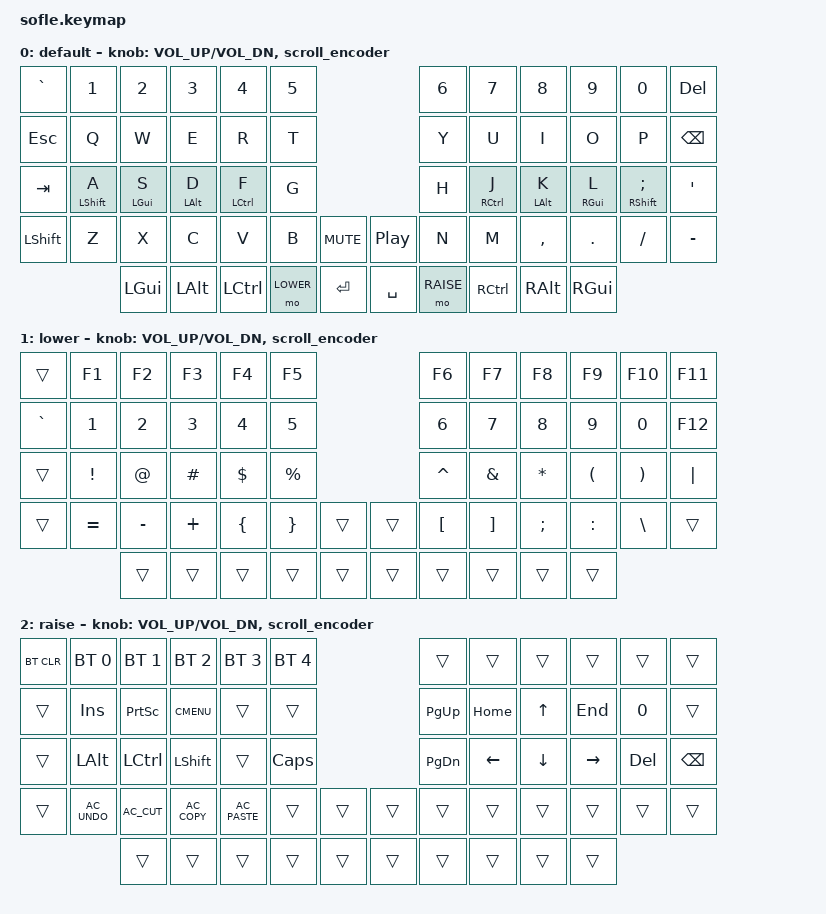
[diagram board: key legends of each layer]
/*
 * Copyright (c) 2020 The ZMK Contributors
 *
 * SPDX-License-Identifier: MIT
 */

#include <behaviors.dtsi>
#include <dt-bindings/zmk/bt.h>
#include <dt-bindings/zmk/ext_power.h>
#include <dt-bindings/zmk/keys.h>
#include <dt-bindings/zmk/pointing.h>

// Encoders
&sensors { triggers-per-rotation = <20>; };
&left_encoder { steps = <80>; };
&right_encoder { steps = <80>; };

#ifndef DONGLE_BUILD

// MechBoards Sofle MX: nice!view CS is wired to pro_micro pin 4 (P0.22),
// not pin 1 as the nice_view_adapter default assumes.
&nice_view_spi {
    cs-gpios = <&pro_micro 4 GPIO_ACTIVE_HIGH>;
};

#endif /* DONGLE_BUILD */

&msc {
    trigger-period-ms = <8>;
};

#define BASE 0
#define LOWER 1
#define RAISE 2

/ {
    // home row mods
    behaviors {
        hm_l: homerow_mods_left {
            compatible = "zmk,behavior-hold-tap";
            #binding-cells = <2>;
            tapping-term-ms = <200>;
            quick-tap-ms = <175>;
            require-prior-idle-ms = <150>; // The "Roll Killer"
            flavor = "balanced";
            hold-trigger-on-release;
            bindings = <&kp>, <&kp>;
            hold-trigger-key-positions = <6 7 8 9 10 11 18 19 20 21 22 23 30 31 32 33 34 35 43 44 45 46 47 48 49 55 56 57 58 59>; // Right hand keys
        };
        hm_r: homerow_mods_right {
            compatible = "zmk,behavior-hold-tap";
            #binding-cells = <2>;
            tapping-term-ms = <200>;
            quick-tap-ms = <175>;
            require-prior-idle-ms = <150>; // The "Roll Killer"
            flavor = "balanced";
            hold-trigger-on-release;
            bindings = <&kp>, <&kp>;
            hold-trigger-key-positions = <0 1 2 3 4 5 12 13 14 15 16 17 24 25 26 27 28 29 36 37 38 39 40 41 42 50 51 52 53 54>; // Left hand keys
        };
        // shift variants: shorter prior-idle, so capitals work mid-typing
        hs_l: homerow_shift_left {
            compatible = "zmk,behavior-hold-tap";
            #binding-cells = <2>;
            tapping-term-ms = <200>;
            quick-tap-ms = <175>;
            require-prior-idle-ms = <75>;
            flavor = "balanced";
            hold-trigger-on-release;
            bindings = <&kp>, <&kp>;
            hold-trigger-key-positions = <6 7 8 9 10 11 18 19 20 21 22 23 30 31 32 33 34 35 43 44 45 46 47 48 49 55 56 57 58 59>; // Right hand keys
        };
        hs_r: homerow_shift_right {
            compatible = "zmk,behavior-hold-tap";
            #binding-cells = <2>;
            tapping-term-ms = <200>;
            quick-tap-ms = <175>;
            require-prior-idle-ms = <75>;
            flavor = "balanced";
            hold-trigger-on-release;
            bindings = <&kp>, <&kp>;
            hold-trigger-key-positions = <0 1 2 3 4 5 12 13 14 15 16 17 24 25 26 27 28 29 36 37 38 39 40 41 42 50 51 52 53 54>; // Left hand keys
        };
    };

    scroll_encoder: scroll_encoder {
        compatible = "zmk,behavior-sensor-rotate";
        #sensor-binding-cells = <0>;
        tap-ms = <12>;
        bindings = <&msc MOVE_Y(125)>, <&msc MOVE_Y(-125)>;
    };

    keymap {
        compatible = "zmk,keymap";

        default_layer {
            display-name = "default";
// ------------------------------------------------------------------------------------------------------------
// |   `   |  1  |  2  |  3   |  4   |  5   |                   |  6   |  7    |  8    |  9   |   0   |       |
// |  ESC  |  Q  |  W  |  E   |  R   |  T   |                   |  Y   |  U    |  I    |  O   |   P   | BKSPC |
// |  TAB  |  A  |  S  |  D   |  F   |  G   |                   |  H   |  J    |  K    |  L   |   ;   |   '   |
// | SHIFT |  Z  |  X  |  C   |  V   |  B   |  MUTE  |  |  PP   |  N   |  M    |  ,    |  .   |   /   | SHIFT |
//               | GUI | ALT  | CTRL | LOWER|  ENTER |  | SPACE | RAISE| CTRL  | ALT   | GUI  |
            bindings = <
&kp GRAVE  &kp N1         &kp N2        &kp N3        &kp N4         &kp N5                           &kp N6     &kp N7         &kp N8        &kp N9       &kp N0            &kp DEL
&kp ESC    &kp Q          &kp W         &kp E         &kp R          &kp T                            &kp Y      &kp U          &kp I         &kp O        &kp P             &kp BSPC
&kp TAB    &hs_l LSHFT A  &hm_l LGUI S  &hm_l LALT D  &hm_l LCTRL F  &kp G                            &kp H      &hm_r RCTRL J  &hm_r LALT K  &hm_r RGUI L &hs_r RSHFT SEMI  &kp SQT
&kp LSHFT  &kp Z          &kp X         &kp C         &kp V          &kp B      &kp C_MUTE &kp C_PP   &kp N      &kp M          &kp COMMA     &kp DOT      &kp FSLH          &kp MINUS
                          &kp LGUI      &kp LALT      &kp LCTRL      &mo LOWER  &kp RET    &kp SPACE  &mo RAISE  &kp RCTRL      &kp RALT      &kp RGUI
            >;

            sensor-bindings = <&inc_dec_kp C_VOL_UP C_VOL_DN &scroll_encoder>;
        };

        lower_layer {
            display-name = "lower";
// TODO: Some binds are waiting for shifted keycode support.
// ------------------------------------------------------------------------------------------------------------
// |       |  F1 |  F2 |  F3  |  F4  |  F5  |                   |  F6  |  F7   |  F8   |  F9  |  F10  |  F11  |
// |   `   |  1  |  2  |  3   |  4   |  5   |                   |  6   |  7    |  8    |  9   |   0   |  F12  |
// |       |  !  |  @  |  #   |  $   |  %   |                   |  ^   |  &    |  *    |  (   |   )   |   |   |
// |       |  =  |  -  |  +   |  {   |  }   |        |  |       |  [   |  ]    |  ;    |  :   |   \   |       |
//               |     |      |      |      |        |  |       |      |       |       |      |
            bindings = <
&trans    &kp F1    &kp F2    &kp F3      &kp F4    &kp F5                    &kp F6    &kp F7   &kp F8    &kp F9    &kp F10   &kp F11
&kp GRAVE &kp N1    &kp N2    &kp N3      &kp N4    &kp N5                    &kp N6    &kp N7   &kp N8    &kp N9    &kp N0    &kp F12
&trans    &kp EXCL  &kp AT    &kp HASH    &kp DLLR  &kp PRCNT                 &kp CARET &kp AMPS &kp ASTRK &kp LPAR  &kp RPAR  &kp PIPE
&trans    &kp EQUAL &kp MINUS &kp PLUS &kp LBRC  &kp RBRC   &trans &trans  &kp LBKT  &kp RBKT &kp SEMI  &kp COLON &kp BSLH  &trans
                    &trans    &trans      &trans    &trans     &trans &trans  &trans    &trans   &trans    &trans
            >;

            sensor-bindings = <&inc_dec_kp C_VOL_UP C_VOL_DN &scroll_encoder>;
        };

        raise_layer {
            display-name = "raise";
// ------------------------------------------------------------------------------------------------------------
// | BTCLR | BT1  | BT2  |  BT3  |  BT4  |  BT5 |                |      |      |       |      |       |       |
// |       | INS  | PSCR | GUI   |       |      |                | PGUP | HOME |   ^   | END  |       |       |
// |       | ALT  | CTRL | SHIFT |       | CAPS |                | PGDN |   <- |   v   |  ->  |  DEL  | BKSPC |
// |       | UNDO | CUT  | COPY  | PASTE |      |      |  |      |      |      |       |      |       |       |
//                |      |       |       |      |      |  |      |      |      |       |      |
            bindings = <
&bt BT_CLR &bt BT_SEL 0   &bt BT_SEL 1 &bt BT_SEL 2   &bt BT_SEL 3   &bt BT_SEL 4                  &trans    &trans    &trans   &trans    &trans  &trans
&trans     &kp INS        &kp PSCRN    &kp K_CMENU    &trans         &trans                        &kp PG_UP &kp HOME  &kp UP   &kp END   &kp N0  &trans
&trans     &kp LALT       &kp LCTRL    &kp LSHFT      &trans         &kp CLCK                      &kp PG_DN &kp LEFT  &kp DOWN &kp RIGHT &kp DEL &kp BSPC
&trans     &kp C_AC_UNDO  &kp C_AC_CUT &kp C_AC_COPY  &kp C_AC_PASTE &trans        &trans  &trans  &trans    &trans    &trans   &trans    &trans  &trans
                          &trans       &trans         &trans         &trans        &trans  &trans  &trans    &trans    &trans   &trans
            >;

            sensor-bindings = <&inc_dec_kp C_VOL_UP C_VOL_DN &scroll_encoder>;
        };

    };
};
